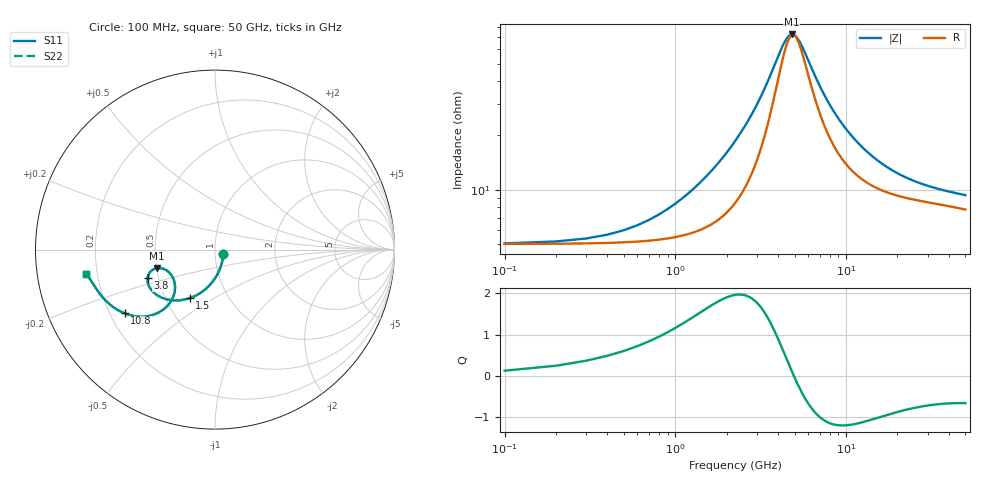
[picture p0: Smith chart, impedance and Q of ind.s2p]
! Touchstone Ver. 1.0
! Mon Dec  3 18:35:07 2012
! Number of ports is 2
# Hz	S	RI	R	50.000000
! SCATTERING PARAMETERS  :
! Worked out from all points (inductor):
!   500 points, 100 MHz to 50 GHz, reference 50 ohm
!   read as 1/Y11, port 2 shorted: L = 972 pH near 300 MHz
!   highest |Z| = 72.6 ohm at 4.8 GHz (marker M1)
!   self-resonance near 4.942 GHz
!   S11 on the Smith chart (normalised r, x): 100 MHz: 1.10, -0.06; 1.5 GHz: 0.66, -0.39; 3.8 GHz: 0.43, -0.17; 10.8 GHz: 0.26, -0.30; 50 GHz: 0.16, -0.09
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1e8  0.0465 -0.0258  0.9511 -0.037  0.9511 -0.037  0.0465 -0.0258
8e8  -0.0183 -0.1851  0.8794 -0.2757  0.8794 -0.2757  -0.0183 -0.1851
1.5e9  -0.1409 -0.2704  0.7371 -0.4436  0.7371 -0.4436  -0.1409 -0.2704
2.5e9  -0.3004 -0.2658  0.5166 -0.566  0.5166 -0.566  -0.3004 -0.2658
3.8e9  -0.3758 -0.1601  0.2556 -0.6223  0.2556 -0.6223  -0.3758 -0.1601
4.8e9  -0.323 -0.1036  0.0468 -0.6024  0.0468 -0.6024  -0.323 -0.1036
5.7e9  -0.2449 -0.1397  -0.1245 -0.4984  -0.1245 -0.4984  -0.2449 -0.1397
6.4e9  -0.2228 -0.2174  -0.1988 -0.3728  -0.1988 -0.3728  -0.2228 -0.2174
8.5e9  -0.3633 -0.3682  -0.1547 -0.1069  -0.1547 -0.1069  -0.3633 -0.3682
1.08e10  -0.504 -0.3551  -0.067 -0.0326  -0.067 -0.0326  -0.504 -0.3551
1.4e10  -0.5939 -0.2983  -0.0142 -0.00871  -0.0142 -0.00871  -0.5939 -0.2983
1.49e10  -0.6085 -0.2845  -0.00615 -0.0055  -0.00615 -0.0055  -0.6085 -0.2845
1.58e10  -0.6204 -0.2719  0.000268 -0.00282  0.000268 -0.00282  -0.6204 -0.2719
1.61e10  -0.6239 -0.2679  0.00213 -0.00201  0.00213 -0.00201  -0.6239 -0.2679
1.68e10  -0.6313 -0.2592  0.00604 -0.000245  0.00604 -0.000245  -0.6313 -0.2592
1.79e10  -0.6412 -0.2469  0.0112 0.00227  0.0112 0.00227  -0.6412 -0.2469
1.95e10  -0.6526 -0.2314  0.0171 0.00553  0.0171 0.00553  -0.6526 -0.2314
2.18e10  -0.6649 -0.2132  0.0234 0.00968  0.0234 0.00968  -0.6649 -0.2132
2.51e10  -0.6774 -0.1934  0.03 0.0149  0.03 0.0149  -0.6774 -0.1934
3.34e10  -0.6966 -0.1631  0.0412 0.0258  0.0412 0.0258  -0.6966 -0.1631
4.17e10  -0.7091 -0.1471  0.0499 0.0343  0.0499 0.0343  -0.7091 -0.1471
5e10  -0.7193 -0.1378  0.058 0.0409  0.058 0.0409  -0.7193 -0.1378
